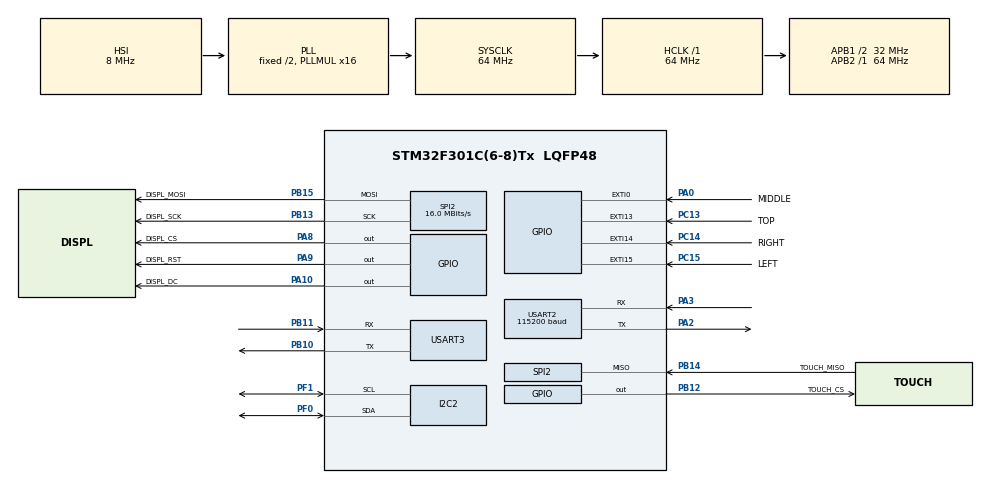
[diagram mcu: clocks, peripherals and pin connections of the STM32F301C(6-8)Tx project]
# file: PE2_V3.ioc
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Dma.Request0=SPI2_TX
Dma.SPI2_TX.0.Direction=DMA_MEMORY_TO_PERIPH
Dma.SPI2_TX.0.Instance=DMA1_Channel5
Dma.SPI2_TX.0.MemDataAlignment=DMA_MDATAALIGN_BYTE
Dma.SPI2_TX.0.MemInc=DMA_MINC_ENABLE
Dma.SPI2_TX.0.Mode=DMA_NORMAL
Dma.SPI2_TX.0.PeriphDataAlignment=DMA_PDATAALIGN_BYTE
Dma.SPI2_TX.0.PeriphInc=DMA_PINC_DISABLE
Dma.SPI2_TX.0.Priority=DMA_PRIORITY_LOW
Mcu.Family=STM32F3
Mcu.Name=STM32F301C(6-8)Tx
Mcu.Package=LQFP48
NVIC.DMA1_Channel5_IRQn=true\:0\:0\:false\:false\:true\:false\:true\:true
NVIC.EXTI0_IRQn=true\:0\:0\:false\:false\:true\:true\:true\:true
NVIC.EXTI15_10_IRQn=true\:0\:0\:false\:false\:true\:true\:true\:true
NVIC.PriorityGroup=NVIC_PRIORITYGROUP_4
NVIC.SPI2_IRQn=true\:0\:0\:false\:false\:true\:true\:true\:true
NVIC.USART2_IRQn=true\:0\:0\:false\:false\:true\:true\:true\:true
PA0.GPIO_Label=MIDDLE
PA0.GPIO_ModeDefaultEXTI=GPIO_MODE_IT_FALLING
PA0.GPIO_PuPd=GPIO_PULLUP
PA0.Signal=GPXTI0
PA10.GPIO_Label=DISPL_DC
PA10.Signal=GPIO_Output
PA13.Mode=Trace_Asynchronous_SW
PA13.Signal=SYS_JTMS-SWDIO
PA14.Mode=Trace_Asynchronous_SW
PA14.Signal=SYS_JTCK-SWCLK
PA2.Mode=Asynchronous
PA2.Signal=USART2_TX
PA3.Mode=Asynchronous
PA3.Signal=USART2_RX
PA8.GPIO_Label=DISPL_CS
PA8.Signal=GPIO_Output
PA9.GPIO_Label=DISPL_RST
PA9.Signal=GPIO_Output
PB10.Mode=Asynchronous
PB10.Signal=USART3_TX
PB11.Mode=Asynchronous
PB11.Signal=USART3_RX
PB12.GPIO_Label=TOUCH_CS
PB12.Signal=GPIO_Output
PB13.GPIO_Label=DISPL_SCK
PB13.Mode=Full_Duplex_Master
PB13.Signal=SPI2_SCK
PB14.GPIO_Label=TOUCH_MISO
PB14.Mode=Full_Duplex_Master
PB14.Signal=SPI2_MISO
PB15.GPIO_Label=DISPL_MOSI
PB15.Mode=Full_Duplex_Master
PB15.Signal=SPI2_MOSI
PB3.Mode=Trace_Asynchronous_SW
PB3.Signal=SYS_JTDO-TRACESWO
PC13.GPIO_Label=TOP
PC13.GPIO_ModeDefaultEXTI=GPIO_MODE_IT_FALLING
PC13.GPIO_PuPd=GPIO_PULLUP
PC13.Signal=GPXTI13
PC14\ -\ OSC32_IN.GPIO_Label=RIGHT
PC14\ -\ OSC32_IN.GPIO_ModeDefaultEXTI=GPIO_MODE_IT_FALLING
PC14\ -\ OSC32_IN.GPIO_PuPd=GPIO_PULLUP
PC14\ -\ OSC32_IN.Signal=GPXTI14
PC15\ -\ OSC32_OUT.GPIO_Label=LEFT
PC15\ -\ OSC32_OUT.GPIO_ModeDefaultEXTI=GPIO_MODE_IT_FALLING
PC15\ -\ OSC32_OUT.GPIO_PuPd=GPIO_PULLUP
PC15\ -\ OSC32_OUT.Signal=GPXTI15
PF0-OSC_IN.GPIO_Pu=GPIO_PULLUP
PF0-OSC_IN.GPIO_Speed=GPIO_SPEED_FREQ_HIGH
PF0-OSC_IN.Mode=I2C
PF0-OSC_IN.Signal=I2C2_SDA
PF1-OSC_OUT.GPIO_Pu=GPIO_PULLUP
PF1-OSC_OUT.GPIO_Speed=GPIO_SPEED_FREQ_HIGH
PF1-OSC_OUT.Mode=I2C
PF1-OSC_OUT.Signal=I2C2_SCL
ProjectManager.HeapSize=0x200
ProjectManager.StackSize=0x400
ProjectManager.TargetToolchain=STM32CubeIDE
RCC.AHBFreq_Value=64000000
RCC.APB1CLKDivider=RCC_HCLK_DIV2
RCC.APB1Freq_Value=32000000
RCC.APB1TimFreq_Value=64000000
RCC.APB2Freq_Value=64000000
RCC.APB2TimFreq_Value=64000000
RCC.CortexFreq_Value=64000000
RCC.HCLKFreq_Value=64000000
RCC.HSE_VALUE=8000000
RCC.HSI_VALUE=8000000
RCC.LSE_VALUE=32768
RCC.PLLMUL=RCC_PLL_MUL16
RCC.SYSCLKFreq_VALUE=64000000
RCC.SYSCLKSourceVirtual=RCC_SYSCLKSOURCE_PLLCLK
SPI2.BaudRatePrescaler=SPI_BAUDRATEPRESCALER_2
SPI2.CalculateBaudRate=16.0 MBits/s
SPI2.DataSize=SPI_DATASIZE_8BIT
SPI2.Direction=SPI_DIRECTION_2LINES
SPI2.Mode=SPI_MODE_MASTER
SPI2.VirtualType=VM_MASTER
USART2.BaudRate=115200
USART2.VirtualMode-Asynchronous=VM_ASYNC
USART3.VirtualMode-Asynchronous=VM_ASYNC
board=custom

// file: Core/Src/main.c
/* USER CODE BEGIN Header */
/**
  ******************************************************************************
  * @file           : main.c
  * @brief          : Main program body
  ******************************************************************************
  * @attention
  *
  * Copyright (c) 2024 STMicroelectronics.
  * All rights reserved.
  *
  * This software is licensed under terms that can be found in the LICENSE file
  * in the root directory of this software component.
  * If no LICENSE file comes with this software, it is provided AS-IS.
  *
  ******************************************************************************
  */
/* USER CODE END Header */
#include "main.h"

/* USER CODE BEGIN Includes */
#include "game.h"
#include <errno.h>
#include <sys/stat.h>
#include <sys/times.h>
#include <sys/unistd.h>
#include <string.h>
#include <stdarg.h>
#include <math.h>

/* USER CODE END Includes */

I2C_HandleTypeDef hi2c2;

SPI_HandleTypeDef hspi2;
DMA_HandleTypeDef hdma_spi2_tx;

UART_HandleTypeDef huart2;
UART_HandleTypeDef huart3;

/* USER CODE BEGIN PV */

char i2cdata[2];
int16_t ay = 0;

#define ADDR_R 0xD0
#define ADDR_W 0xD1
#define REG_WHOAMI 0x75

#define REG_PWR_MGMT 0x6B
#define REG_SMPLRT_DIV 0x19
#define REG_GYRO_CONF 0x1B
#define REG_ACCEL_CONF 0x1C

#define REG_GYRO_XOUT158 0x43
#define REG_GYRO_XOUT70 0x44
#define REG_GYRO_YOUT158 0x45
#define REG_GYRO_YOUT70 0x46
#define REG_GYRO_ZOUT158 0x47
#define REG_GYRO_ZOUT70 0x48

#define REG_ACCEL_XOUT158 0x3B
#define REG_ACCEL_XOUT70 0x3C
#define REG_ACCEL_YOUT158 0x3D
#define REG_ACCEL_YOUT70 0x3E
#define REG_ACCEL_ZOUT158 0x3F
#define REG_ACCEL_ZOUT70 0x40
/* USER CODE END PV */

void SystemClock_Config(void);
static void MX_GPIO_Init(void);
static void MX_DMA_Init(void);
static void MX_I2C2_Init(void);
static void MX_SPI2_Init(void);
static void MX_USART2_UART_Init(void);
static void MX_USART3_UART_Init(void);

/* USER CODE BEGIN 0 */
volatile uint32_t debounce_time = 0;
#define DEBOUNCE_DELAY 30 // doesn't work that well

uint8_t key = 0;

uint8_t read_MPU_mem(uint8_t reg_addr){
	uint8_t data;
	if(HAL_I2C_Mem_Read(&hi2c2, ADDR_R, reg_addr, 1, &data, 1, 100) == HAL_OK){
		return data;
	}
	else{
		printf("mem not read\r\n");
		return 0;
	}
}

void write_MPU_mem(uint8_t reg_addr, uint8_t data){
    if(HAL_I2C_Mem_Write(&hi2c2, ADDR_W, reg_addr, 1, &data, 1, 100) != HAL_OK){
        printf("mem not written\r\n");
    }
}

void read_y_accel(){
	uint8_t LSByte = read_MPU_mem(REG_ACCEL_YOUT70);
	uint8_t MSByte = read_MPU_mem(REG_ACCEL_YOUT158);

	ay = (((int16_t)MSByte << 8) | LSByte);

}

void init_MPU(){
	write_MPU_mem(REG_PWR_MGMT, 0);
	write_MPU_mem(REG_SMPLRT_DIV,0x07);
	write_MPU_mem(REG_GYRO_CONF, 0);
	write_MPU_mem(REG_ACCEL_CONF, 0);
}
extern bullets_t ammo;
/* USER CODE END 0 */

int main(void)
{

  /* MCU Configuration--------------------------------------------------------*/

  /* Reset of all peripherals, Initializes the Flash interface and the Systick. */
  HAL_Init();

  /* Configure the system clock */
  SystemClock_Config();

  /* Initialize all configured peripherals */
  MX_GPIO_Init();
  MX_DMA_Init();
  MX_I2C2_Init();
  MX_SPI2_Init();
  MX_USART2_UART_Init();
  MX_USART3_UART_Init();
  /* USER CODE BEGIN 2 */
  HAL_Delay(100);
  if(HAL_I2C_IsDeviceReady(&hi2c2, ADDR_R, 1, 100) == HAL_OK){
	  printf("succesfully communicated\r\n");
	  init_MPU();
  }
  else{
	  printf("I2C device not found\r\n");
  }

  Displ_Init(Displ_Orientat_90);       // initialize the display and set the initial display orientation (here is orientaton: 0°) - THIS FUNCTION MUST PRECEED ANY OTHER DISPLAY FUNCTION CALL.
  Displ_CLS(BLACK);           // after initialization (above) and before turning on backlight (below), you can draw the initial display appearance. (here I'm just clearing display with a black background)

  /* USER CODE END 2 */

  /* Infinite loop */
  while (1)
  {

    /* USER CODE BEGIN 3 */
      HAL_Delay(100);
      if(HAL_I2C_IsDeviceReady(&hi2c2, ADDR_R, 1, 100) == HAL_OK){
		  read_y_accel();
		  if (ay > 2000){
			  key = right;
		  }
		  else if (ay < -2000){
			  key = left;
		  }
      }
      key = loop(key);
  }
  /* USER CODE END 3 */
}

void SystemClock_Config(void)
{
  RCC_OscInitTypeDef RCC_OscInitStruct = {0};
  RCC_ClkInitTypeDef RCC_ClkInitStruct = {0};
  RCC_PeriphCLKInitTypeDef PeriphClkInit = {0};

  /** Initializes the RCC Oscillators according to the specified parameters
  * in the RCC_OscInitTypeDef structure.
  */
  RCC_OscInitStruct.OscillatorType = RCC_OSCILLATORTYPE_HSI;
  RCC_OscInitStruct.HSIState = RCC_HSI_ON;
  RCC_OscInitStruct.HSICalibrationValue = RCC_HSICALIBRATION_DEFAULT;
  RCC_OscInitStruct.PLL.PLLState = RCC_PLL_ON;
  RCC_OscInitStruct.PLL.PLLSource = RCC_PLLSOURCE_HSI;
  RCC_OscInitStruct.PLL.PLLMUL = RCC_PLL_MUL16;
  if (HAL_RCC_OscConfig(&RCC_OscInitStruct) != HAL_OK)
  {
    Error_Handler();
  }

  /** Initializes the CPU, AHB and APB buses clocks
  */
  RCC_ClkInitStruct.ClockType = RCC_CLOCKTYPE_HCLK|RCC_CLOCKTYPE_SYSCLK
                              |RCC_CLOCKTYPE_PCLK1|RCC_CLOCKTYPE_PCLK2;
  RCC_ClkInitStruct.SYSCLKSource = RCC_SYSCLKSOURCE_PLLCLK;
  RCC_ClkInitStruct.AHBCLKDivider = RCC_SYSCLK_DIV1;
  RCC_ClkInitStruct.APB1CLKDivider = RCC_HCLK_DIV2;
  RCC_ClkInitStruct.APB2CLKDivider = RCC_HCLK_DIV1;

  if (HAL_RCC_ClockConfig(&RCC_ClkInitStruct, FLASH_LATENCY_2) != HAL_OK)
  {
    Error_Handler();
  }
  PeriphClkInit.PeriphClockSelection = RCC_PERIPHCLK_I2C2;
  PeriphClkInit.I2c2ClockSelection = RCC_I2C2CLKSOURCE_HSI;
  if (HAL_RCCEx_PeriphCLKConfig(&PeriphClkInit) != HAL_OK)
  {
    Error_Handler();
  }
}

static void MX_I2C2_Init(void)
{

  hi2c2.Instance = I2C2;
  hi2c2.Init.Timing = 0x2000090E;
  hi2c2.Init.OwnAddress1 = 0;
  hi2c2.Init.AddressingMode = I2C_ADDRESSINGMODE_7BIT;
  hi2c2.Init.DualAddressMode = I2C_DUALADDRESS_DISABLE;
  hi2c2.Init.OwnAddress2 = 0;
  hi2c2.Init.OwnAddress2Masks = I2C_OA2_NOMASK;
  hi2c2.Init.GeneralCallMode = I2C_GENERALCALL_DISABLE;
  hi2c2.Init.NoStretchMode = I2C_NOSTRETCH_DISABLE;
  if (HAL_I2C_Init(&hi2c2) != HAL_OK)
  {
    Error_Handler();
  }

  /** Configure Analogue filter
  */
  if (HAL_I2CEx_ConfigAnalogFilter(&hi2c2, I2C_ANALOGFILTER_ENABLE) != HAL_OK)
  {
    Error_Handler();
  }

  /** Configure Digital filter
  */
  if (HAL_I2CEx_ConfigDigitalFilter(&hi2c2, 0) != HAL_OK)
  {
    Error_Handler();
  }

}

static void MX_SPI2_Init(void)
{

  /* SPI2 parameter configuration*/
  hspi2.Instance = SPI2;
  hspi2.Init.Mode = SPI_MODE_MASTER;
  hspi2.Init.Direction = SPI_DIRECTION_2LINES;
  hspi2.Init.DataSize = SPI_DATASIZE_8BIT;
  hspi2.Init.CLKPolarity = SPI_POLARITY_LOW;
  hspi2.Init.CLKPhase = SPI_PHASE_1EDGE;
  hspi2.Init.NSS = SPI_NSS_SOFT;
  hspi2.Init.BaudRatePrescaler = SPI_BAUDRATEPRESCALER_2;
  hspi2.Init.FirstBit = SPI_FIRSTBIT_MSB;
  hspi2.Init.TIMode = SPI_TIMODE_DISABLE;
  hspi2.Init.CRCCalculation = SPI_CRCCALCULATION_DISABLE;
  hspi2.Init.CRCPolynomial = 7;
  hspi2.Init.CRCLength = SPI_CRC_LENGTH_DATASIZE;
  hspi2.Init.NSSPMode = SPI_NSS_PULSE_ENABLE;
  if (HAL_SPI_Init(&hspi2) != HAL_OK)
  {
    Error_Handler();
  }

}

static void MX_USART2_UART_Init(void)
{

  huart2.Instance = USART2;
  huart2.Init.BaudRate = 115200;
  huart2.Init.WordLength = UART_WORDLENGTH_8B;
  huart2.Init.StopBits = UART_STOPBITS_1;
  huart2.Init.Parity = UART_PARITY_NONE;
  huart2.Init.Mode = UART_MODE_TX_RX;
  huart2.Init.HwFlowCtl = UART_HWCONTROL_NONE;
  huart2.Init.OverSampling = UART_OVERSAMPLING_16;
  huart2.Init.OneBitSampling = UART_ONE_BIT_SAMPLE_DISABLE;
  huart2.AdvancedInit.AdvFeatureInit = UART_ADVFEATURE_NO_INIT;
  if (HAL_UART_Init(&huart2) != HAL_OK)
  {
    Error_Handler();
  }
  /* USER CODE BEGIN USART2_Init 2 */
  USART2->CR1 |= (USART_CR1_TE | USART_CR1_RXNEIE | USART_CR1_RE | USART_CR1_UE);
  /* USER CODE END USART2_Init 2 */

}

static void MX_USART3_UART_Init(void)
{

  huart3.Instance = USART3;
  huart3.Init.BaudRate = 38400;
  huart3.Init.WordLength = UART_WORDLENGTH_8B;
  huart3.Init.StopBits = UART_STOPBITS_1;
  huart3.Init.Parity = UART_PARITY_NONE;
  huart3.Init.Mode = UART_MODE_TX_RX;
  huart3.Init.HwFlowCtl = UART_HWCONTROL_NONE;
  huart3.Init.OverSampling = UART_OVERSAMPLING_16;
  huart3.Init.OneBitSampling = UART_ONE_BIT_SAMPLE_DISABLE;
  huart3.AdvancedInit.AdvFeatureInit = UART_ADVFEATURE_NO_INIT;
  if (HAL_UART_Init(&huart3) != HAL_OK)
  {
    Error_Handler();
  }

}

static void MX_DMA_Init(void)
{

  /* DMA controller clock enable */
  __HAL_RCC_DMA1_CLK_ENABLE();

  /* DMA interrupt init */
  /* DMA1_Channel5_IRQn interrupt configuration */
  HAL_NVIC_SetPriority(DMA1_Channel5_IRQn, 0, 0);
  HAL_NVIC_EnableIRQ(DMA1_Channel5_IRQn);

}

static void MX_GPIO_Init(void)
{
  GPIO_InitTypeDef GPIO_InitStruct = {0};

  /* GPIO Ports Clock Enable */
  __HAL_RCC_GPIOC_CLK_ENABLE();
  __HAL_RCC_GPIOF_CLK_ENABLE();
  __HAL_RCC_GPIOA_CLK_ENABLE();
  __HAL_RCC_GPIOB_CLK_ENABLE();

  /*Configure GPIO pin Output Level */
  HAL_GPIO_WritePin(TOUCH_CS_GPIO_Port, TOUCH_CS_Pin, GPIO_PIN_RESET);

  /*Configure GPIO pin Output Level */
  HAL_GPIO_WritePin(GPIOA, DISPL_CS_Pin|DISPL_RST_Pin|DISPL_DC_Pin, GPIO_PIN_RESET);

  /*Configure GPIO pins : TOP_Pin RIGHT_Pin LEFT_Pin */
  GPIO_InitStruct.Pin = TOP_Pin|RIGHT_Pin|LEFT_Pin;
  GPIO_InitStruct.Mode = GPIO_MODE_IT_FALLING;
  GPIO_InitStruct.Pull = GPIO_PULLUP;
  HAL_GPIO_Init(GPIOC, &GPIO_InitStruct);

  /*Configure GPIO pin : MIDDLE_Pin */
  GPIO_InitStruct.Pin = MIDDLE_Pin;
  GPIO_InitStruct.Mode = GPIO_MODE_IT_FALLING;
  GPIO_InitStruct.Pull = GPIO_PULLUP;
  HAL_GPIO_Init(MIDDLE_GPIO_Port, &GPIO_InitStruct);

  /*Configure GPIO pin : TOUCH_CS_Pin */
  GPIO_InitStruct.Pin = TOUCH_CS_Pin;
  GPIO_InitStruct.Mode = GPIO_MODE_OUTPUT_PP;
  GPIO_InitStruct.Pull = GPIO_NOPULL;
  GPIO_InitStruct.Speed = GPIO_SPEED_FREQ_LOW;
  HAL_GPIO_Init(TOUCH_CS_GPIO_Port, &GPIO_InitStruct);

  /*Configure GPIO pins : DISPL_CS_Pin DISPL_RST_Pin DISPL_DC_Pin */
  GPIO_InitStruct.Pin = DISPL_CS_Pin|DISPL_RST_Pin|DISPL_DC_Pin;
  GPIO_InitStruct.Mode = GPIO_MODE_OUTPUT_PP;
  GPIO_InitStruct.Pull = GPIO_NOPULL;
  GPIO_InitStruct.Speed = GPIO_SPEED_FREQ_LOW;
  HAL_GPIO_Init(GPIOA, &GPIO_InitStruct);

  /* EXTI interrupt init*/
  HAL_NVIC_SetPriority(EXTI0_IRQn, 0, 0);
  HAL_NVIC_EnableIRQ(EXTI0_IRQn);

  HAL_NVIC_SetPriority(EXTI15_10_IRQn, 0, 0);
  HAL_NVIC_EnableIRQ(EXTI15_10_IRQn);

}

/* USER CODE BEGIN 4 */
void HAL_GPIO_EXTI_Callback(uint16_t GPIO_Pin) {
    // Get the current time
    uint32_t current_time = HAL_GetTick();

    // Check if it's been long enough since the last interrupt
    if (current_time - debounce_time > DEBOUNCE_DELAY) {
        debounce_time = current_time;
        printf("interrupt!\r\n");
        if (GPIO_Pin == LEFT_Pin && HAL_GPIO_ReadPin(LEFT_GPIO_Port, GPIO_Pin) == 0) {
            key = left;
            printf("left clicked\r\n");
        } else if (GPIO_Pin == TOP_Pin && HAL_GPIO_ReadPin(TOP_GPIO_Port, GPIO_Pin) == 0) {
            key = up;
            printf("up clicked\r\n");
        } else if (GPIO_Pin == RIGHT_Pin && HAL_GPIO_ReadPin(RIGHT_GPIO_Port, GPIO_Pin) == 0) {
            key = right;
            printf("right clicked\r\n");
        } else if (GPIO_Pin == MIDDLE_Pin && HAL_GPIO_ReadPin(MIDDLE_GPIO_Port, GPIO_Pin) == 0) {
            key = down;
            printf("down clicked\r\n");
        }
    }
}
/* USER CODE END 4 */

void Error_Handler(void)
{
  __disable_irq();
  while (1)
  {
  }
}
